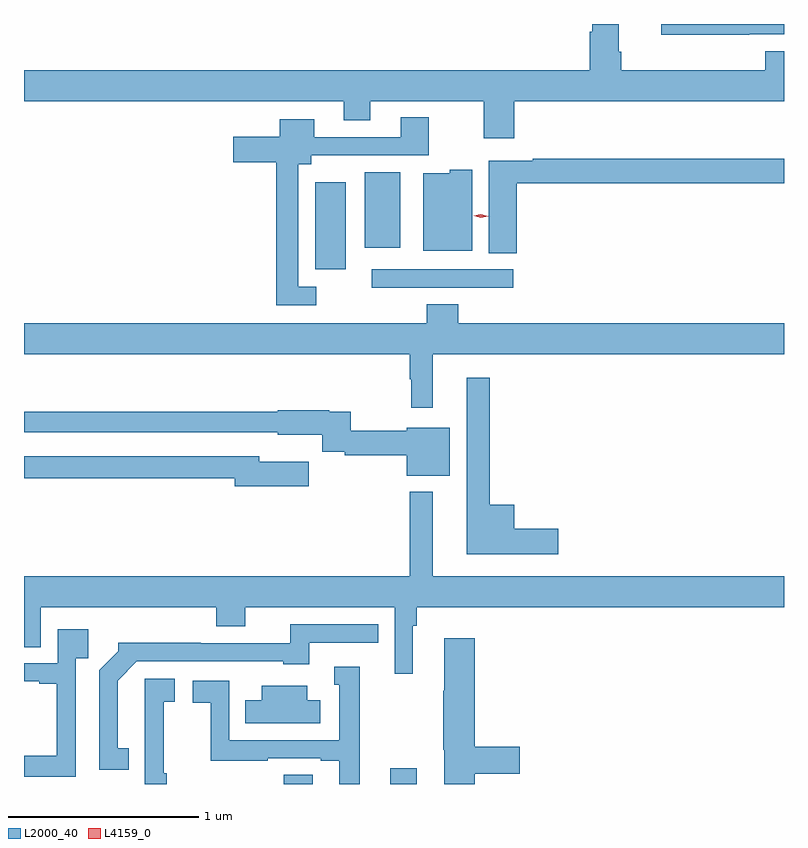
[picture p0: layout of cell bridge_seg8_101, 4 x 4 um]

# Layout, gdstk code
import gdstk
lib = gdstk.Library(unit=1e-6, precision=1e-09)
def R(c, l, rs):  # rectangles x0, y0, x1, y1
    for r in rs: c.add(gdstk.rectangle(r[:2], r[2:], *l))
def P(c, l, *ps):  # polygons
    for p in ps: c.add(gdstk.Polygon(p, *l))
L2000_40 = (2000, 40)
L4159_0 = (4159, 0)

bridge_seg8_101 = lib.new_cell('bridge_seg8_101')
R(bridge_seg8_101, L2000_40, [(723.488,1131.555,723.64,1131.605), (724.049,1131.555,724.189,1131.637), (723.951,1134.168,724.696,1134.264), (723.653,1134.263,723.814,1134.721), (723.914,1134.377,724.102,1134.775), (724.785,1135.554,724.933,1135.555)])
P(bridge_seg8_101, L2000_40, [(724.7,1135.148),(726.121,1135.148),(726.121,1135.411),(726.023,1135.411),(726.023,1135.312),(725.264,1135.312),(725.264,1135.408),(725.251,1135.408),(725.251,1135.555),(725.111,1135.555),(725.111,1135.514),(725.099,1135.514),(725.099,1135.312),(722.121,1135.312),(722.121,1135.148),(723.803,1135.148),(723.803,1135.049),(723.943,1135.049),(723.943,1135.148),(724.54,1135.148),(724.54,1134.954),(724.7,1134.954)],
  [(725.939,1135.5),(726.121,1135.5),(726.121,1135.555),(725.476,1135.555),(725.476,1135.499),(725.939,1135.499)],
  [(723.658,1134.171),(723.564,1134.171),(723.564,1134.818),(723.634,1134.818),(723.634,1134.864),(724.251,1134.864),(724.251,1135.063),(724.103,1135.063),(724.103,1134.96),(723.649,1134.96),(723.649,1135.054),(723.467,1135.054),(723.467,1134.961),(723.222,1134.961),(723.222,1134.827),(723.448,1134.827),(723.448,1134.075),(723.658,1134.075)],
  [(724.715,1134.718),(726.121,1134.718),(726.121,1134.847),(724.798,1134.847),(724.798,1134.834),(724.568,1134.834),(724.568,1134.349),(724.715,1134.349)],
  [(724.48,1134.787),(724.362,1134.787),(724.362,1134.769),(724.223,1134.769),(724.223,1134.362),(724.48,1134.362)],
  [(724.273,1133.816),(726.121,1133.816),(726.121,1133.98),(724.406,1133.98),(724.406,1134.079),(724.241,1134.079),(724.241,1133.98),(722.121,1133.98),(722.121,1133.816),(724.152,1133.816),(724.152,1133.684),(724.159,1133.684),(724.159,1133.535),(724.273,1133.535)],
  [(724.933,1132.898),(724.702,1132.898),(724.702,1133.026),(724.573,1133.026),(724.573,1133.692),(724.451,1133.692),(724.451,1132.763),(724.933,1132.763)],
  [(724.363,1133.431),(724.136,1133.431),(724.136,1133.413),(723.84,1133.413),(723.84,1133.515),(723.728,1133.515),(723.728,1133.523),(723.456,1133.523),(723.456,1133.515),(722.121,1133.515),(722.121,1133.406),(723.456,1133.406),(723.456,1133.393),(723.692,1133.393),(723.692,1133.304),(723.808,1133.304),(723.808,1133.284),(724.136,1133.284),(724.136,1133.177),(724.363,1133.177)],
  [(723.619,1133.251),(723.358,1133.251),(723.358,1133.28),(722.121,1133.28),(722.121,1133.164),(723.23,1133.164),(723.23,1133.122),(723.619,1133.122)],
  [(724.168,1132.388),(724.187,1132.388),(724.187,1132.484),(726.121,1132.484),(726.121,1132.648),(724.273,1132.648),(724.273,1133.092),(724.152,1133.092),(724.152,1132.648),(722.121,1132.648),(722.121,1132.276),(722.209,1132.276),(722.209,1132.484),(723.134,1132.484),(723.134,1132.385),(723.286,1132.385),(723.286,1132.484),(724.071,1132.484),(724.071,1132.134),(724.168,1132.134)],
  [(722.672,1131.743),(722.614,1131.743),(722.614,1132.099),(722.715,1132.2),(723.486,1132.2),(723.486,1132.184),(723.622,1132.184),(723.622,1132.299),(723.986,1132.299),(723.986,1132.395),(723.523,1132.395),(723.523,1132.296),(723.05,1132.296),(723.05,1132.298),(722.616,1132.298),(722.616,1132.253),(722.517,1132.154),(722.517,1131.63),(722.672,1131.63)],
  [(722.394,1132.217),(722.459,1132.217),(722.459,1132.369),(722.298,1132.369),(722.298,1132.191),(722.121,1132.191),(722.121,1132.095),(722.201,1132.095),(722.201,1132.083),(722.293,1132.083),(722.293,1131.703),(722.121,1131.703),(722.121,1131.594),(722.394,1131.594)],
  [(724.493,1131.61),(724.729,1131.61),(724.729,1131.752),(724.493,1131.752),(724.493,1132.321),(724.334,1132.321),(724.334,1132.046),(724.327,1132.046),(724.327,1131.735),(724.334,1131.735),(724.334,1131.555),(724.493,1131.555)],
  [(723.889,1132.171),(723.755,1132.171),(723.755,1132.077),(723.78,1132.077),(723.78,1131.786),(723.201,1131.786),(723.201,1132.098),(723.009,1132.098),(723.009,1131.982),(723.103,1131.982),(723.103,1131.678),(723.404,1131.678),(723.404,1131.69),(723.683,1131.69),(723.683,1131.678),(723.779,1131.678),(723.779,1131.555),(723.889,1131.555)],
  [(722.873,1131.611),(722.856,1131.611),(722.856,1131.987),(722.914,1131.987),(722.914,1132.108),(722.756,1132.108),(722.756,1131.832),(722.757,1131.832),(722.757,1131.555),(722.873,1131.555)],
  [(723.679,1131.997),(723.613,1131.997),(723.613,1132.072),(723.371,1132.072),(723.371,1131.997),(723.286,1131.997),(723.286,1131.875),(723.679,1131.875)])
P(bridge_seg8_101, L4159_0, [(724.525,1134.534),(724.487,1134.545),(724.487,1134.545),(724.487,1134.545),(724.526,1134.554),(724.564,1134.544),(724.564,1134.544),(724.564,1134.544)])

lib.write_gds('bridge_seg8_101.gds')
